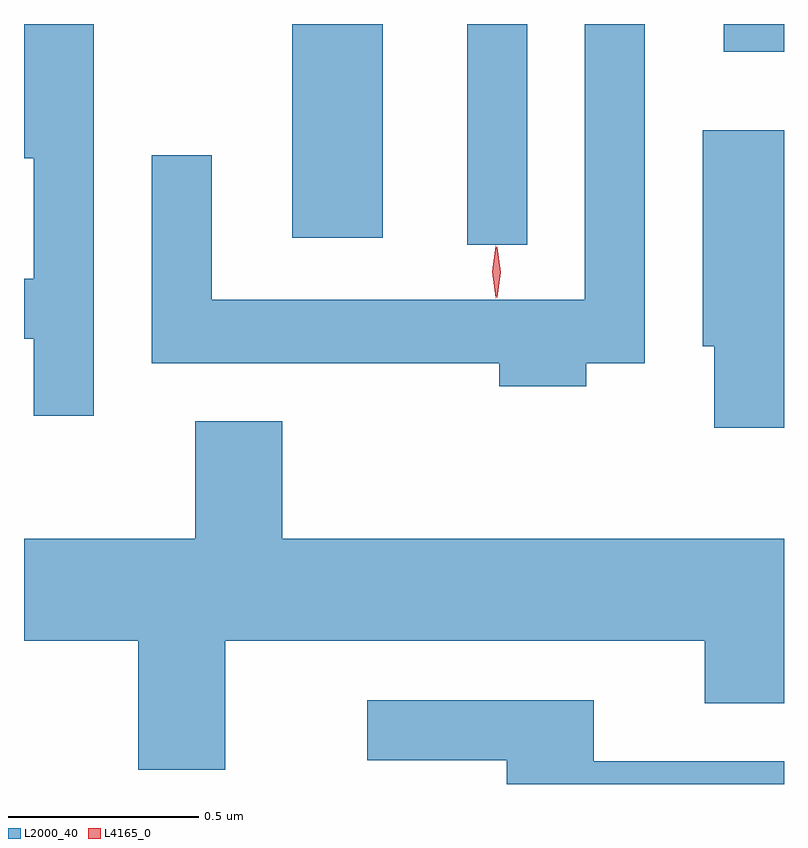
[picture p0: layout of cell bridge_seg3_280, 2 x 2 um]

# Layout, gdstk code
import gdstk
lib = gdstk.Library(unit=1e-6, precision=1e-09)
def R(c, l, rs):  # rectangles x0, y0, x1, y1
    for r in rs: c.add(gdstk.rectangle(r[:2], r[2:], *l))
def P(c, l, *ps):  # polygons
    for p in ps: c.add(gdstk.Polygon(p, *l))
L2000_40 = (2000, 40)
L4165_0 = (4165, 0)

bridge_seg3_280 = lib.new_cell('bridge_seg3_280')
R(bridge_seg3_280, L2000_40, [(1040.486,1135.938,1040.644,1136.519), (1040.026,1135.956,1040.264,1136.519), (1041.161,1136.446,1041.32,1136.519)])
P(bridge_seg3_280, L2000_40, [(1039.504,1136.519),(1039.32,1136.519),(1039.32,1136.166),(1039.346,1136.166),(1039.346,1135.849),(1039.32,1135.849),(1039.32,1135.691),(1039.346,1135.691),(1039.346,1135.488),(1039.504,1135.488)],
  [(1040.799,1135.626),(1040.954,1135.626),(1040.954,1136.519),(1040.796,1136.519),(1040.796,1135.794),(1039.814,1135.794),(1039.814,1136.173),(1039.656,1136.173),(1039.656,1135.626),(1040.571,1135.626),(1040.571,1135.566),(1040.799,1135.566)],
  [(1041.32,1136.239),(1041.106,1136.239),(1041.106,1135.671),(1041.136,1135.671),(1041.136,1135.456),(1041.32,1135.456)],
  [(1039.771,1135.164),(1039.32,1135.164),(1039.32,1134.896),(1039.621,1134.896),(1039.621,1134.556),(1039.849,1134.556),(1039.849,1134.896),(1041.111,1134.896),(1041.111,1134.731),(1041.32,1134.731),(1041.32,1135.164),(1039.999,1135.164),(1039.999,1135.474),(1039.771,1135.474)],
  [(1041.32,1134.579),(1040.819,1134.579),(1040.819,1134.739),(1040.223,1134.739),(1040.223,1134.581),(1040.591,1134.581),(1040.591,1134.519),(1041.32,1134.519)])
P(bridge_seg3_280, L4165_0, [(1040.565,1135.799),(1040.564,1135.8),(1040.555,1135.866),(1040.564,1135.932),(1040.565,1135.933),(1040.565,1135.932),(1040.575,1135.866),(1040.565,1135.8)],
  [(1040.562,1135.797),(1040.561,1135.798),(1040.552,1135.867),(1040.561,1135.936),(1040.562,1135.936),(1040.562,1135.936),(1040.572,1135.867),(1040.562,1135.798)])

lib.write_gds('bridge_seg3_280.gds')
